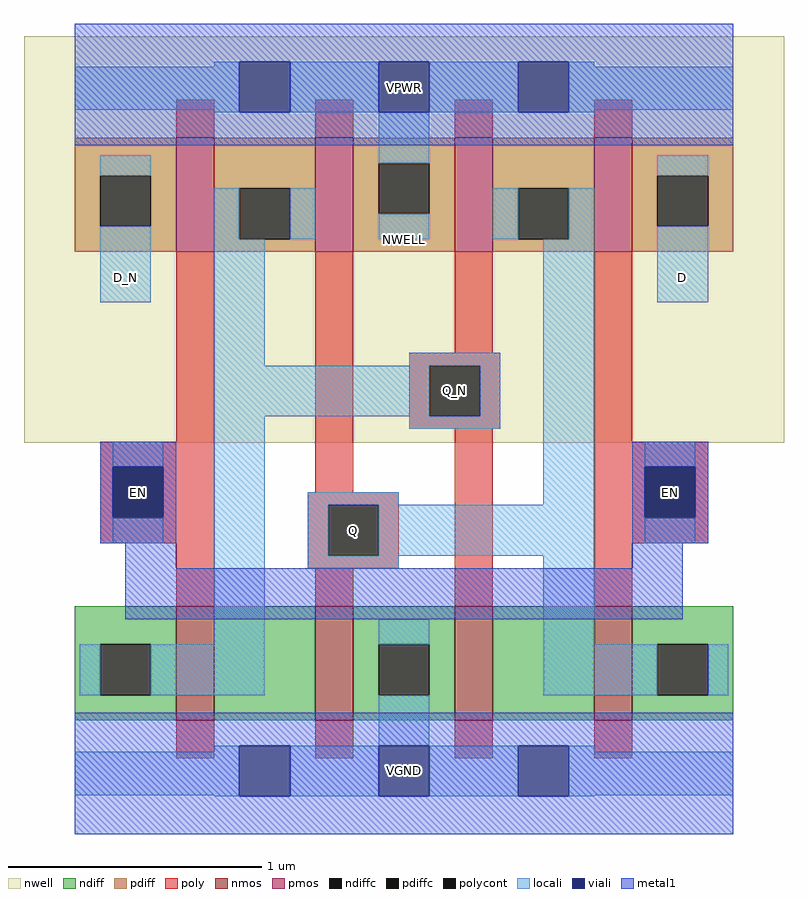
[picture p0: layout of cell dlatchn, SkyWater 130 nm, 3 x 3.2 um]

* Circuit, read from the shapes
.subckt dlatchn D D_N EN NWELL Q Q_N VGND VPWR
XM1 n1 EN Q_N VSUBS sky130_fd_pr__nfet_01v8 w=0.45 l=0.15
XM2 VGND Q n1 VSUBS sky130_fd_pr__nfet_01v8 w=0.45 l=0.15
XM3 n2 Q_N VGND VSUBS sky130_fd_pr__nfet_01v8 w=0.45 l=0.15
XM4 Q EN n2 VSUBS sky130_fd_pr__nfet_01v8 w=0.45 l=0.15
XM5 Q_N EN D_N NWELL sky130_fd_pr__pfet_01v8 w=0.45 l=0.15
XM6 VPWR Q Q_N NWELL sky130_fd_pr__pfet_01v8 w=0.45 l=0.15
XM7 Q Q_N VPWR NWELL sky130_fd_pr__pfet_01v8 w=0.45 l=0.15
XM8 D EN Q NWELL sky130_fd_pr__pfet_01v8 w=0.45 l=0.15
.ends

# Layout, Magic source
magic
tech sky130A
magscale 1 2
<< nwell >>
rect -300 309 300 630
<< nmos >>
rect -180 90 -150 180
rect -70 90 -40 180
rect 40 90 70 180
rect 150 90 180 180
<< pmos >>
rect -180 460 -150 550
rect -70 460 -40 550
rect 40 460 70 550
rect 150 460 180 550
<< ndiff >>
rect -260 150 -180 180
rect -260 110 -240 150
rect -200 110 -180 150
rect -260 90 -180 110
rect -150 90 -70 180
rect -40 150 40 180
rect -40 110 -20 150
rect 20 110 40 150
rect -40 90 40 110
rect 70 90 150 180
rect 180 150 260 180
rect 180 110 200 150
rect 240 110 260 150
rect 180 90 260 110
<< pdiff >>
rect -260 520 -180 550
rect -260 480 -240 520
rect -200 480 -180 520
rect -260 460 -180 480
rect -150 510 -70 550
rect -150 470 -130 510
rect -90 470 -70 510
rect -150 460 -70 470
rect -40 530 40 550
rect -40 490 -20 530
rect 20 490 40 530
rect -40 460 40 490
rect 70 510 150 550
rect 70 470 90 510
rect 130 470 150 510
rect 70 460 150 470
rect 180 520 260 550
rect 180 480 200 520
rect 240 480 260 520
rect 180 460 260 480
<< ndiffc >>
rect -240 110 -200 150
rect -20 110 20 150
rect 200 110 240 150
<< pdiffc >>
rect -240 480 -200 520
rect -130 470 -90 510
rect -20 490 20 530
rect 90 470 130 510
rect 200 480 240 520
<< poly >>
rect -180 550 -150 580
rect -70 550 -40 580
rect 40 550 70 580
rect 150 550 180 580
rect -180 310 -150 460
rect -240 290 -150 310
rect -240 250 -230 290
rect -190 250 -150 290
rect -70 270 -40 460
rect 40 380 70 460
rect 4 370 76 380
rect 4 330 20 370
rect 60 330 76 370
rect 4 320 76 330
rect -240 230 -150 250
rect -180 180 -150 230
rect -76 260 -4 270
rect -76 220 -60 260
rect -20 220 -4 260
rect -76 210 -4 220
rect -70 180 -40 210
rect 40 180 70 320
rect 150 310 180 460
rect 150 290 240 310
rect 150 250 190 290
rect 230 250 240 290
rect 150 230 240 250
rect 150 180 180 230
rect -180 60 -150 90
rect -70 60 -40 90
rect 40 60 70 90
rect 150 60 180 90
<< polycont >>
rect -230 250 -190 290
rect 20 330 60 370
rect -60 220 -20 260
rect 190 250 230 290
<< locali >>
rect -150 606 -130 610
rect -260 572 -130 606
rect -150 570 -130 572
rect -90 570 -20 610
rect 20 570 90 610
rect 130 606 150 610
rect 130 572 260 606
rect 130 570 150 572
rect -240 520 -200 536
rect -20 530 20 570
rect -240 420 -200 480
rect -150 470 -130 510
rect -90 470 -70 510
rect 200 520 240 536
rect -20 470 20 490
rect 70 470 90 510
rect 130 470 150 510
rect -150 370 -110 470
rect 4 370 76 380
rect -150 330 20 370
rect 60 330 76 370
rect -230 290 -190 310
rect -230 230 -190 250
rect -150 150 -110 330
rect 4 320 76 330
rect -76 260 -4 270
rect 110 260 150 470
rect 200 420 240 480
rect -76 220 -60 260
rect -20 220 150 260
rect 190 290 230 310
rect 190 230 230 250
rect -76 210 -4 220
rect -256 110 -240 150
rect -200 110 -110 150
rect -20 150 20 170
rect 110 150 150 220
rect 110 110 200 150
rect 240 110 256 150
rect -20 70 20 110
rect -150 65 -130 70
rect -260 31 -130 65
rect -150 30 -130 31
rect -90 30 -20 70
rect 20 30 90 70
rect 130 65 150 70
rect 130 31 260 65
rect 130 30 150 31
<< viali >>
rect -130 570 -90 610
rect -20 570 20 610
rect 90 570 130 610
rect -230 250 -190 290
rect 190 250 230 290
rect -130 30 -90 70
rect -20 30 20 70
rect 90 30 130 70
<< metal1 >>
rect -260 610 260 640
rect -260 570 -130 610
rect -90 570 -20 610
rect 20 570 90 610
rect 130 570 260 610
rect -260 544 260 570
rect -240 290 -180 310
rect -240 250 -230 290
rect -190 250 -180 290
rect -240 230 -180 250
rect -220 210 -180 230
rect 180 290 240 310
rect 180 250 190 290
rect 230 250 240 290
rect 180 230 240 250
rect 180 210 220 230
rect -220 170 220 210
rect -260 70 260 96
rect -260 30 -130 70
rect -90 30 -20 70
rect 20 30 90 70
rect 130 30 260 70
rect -260 0 260 30
<< labels >>
rlabel nwell -300 309 300 630 1 NWELL
rlabel viali -20 570 20 610 1 VPWR
rlabel viali -20 30 20 70 1 VGND
rlabel locali 20 330 60 370 0 Q_N
rlabel locali -60 220 -20 260 0 Q
rlabel metal1 -240 230 -180 310 0 EN
rlabel metal1 180 230 240 310 0 EN
rlabel locali -240 420 -200 460 0 D_N
rlabel locali 200 420 240 460 0 D
<< end >>
